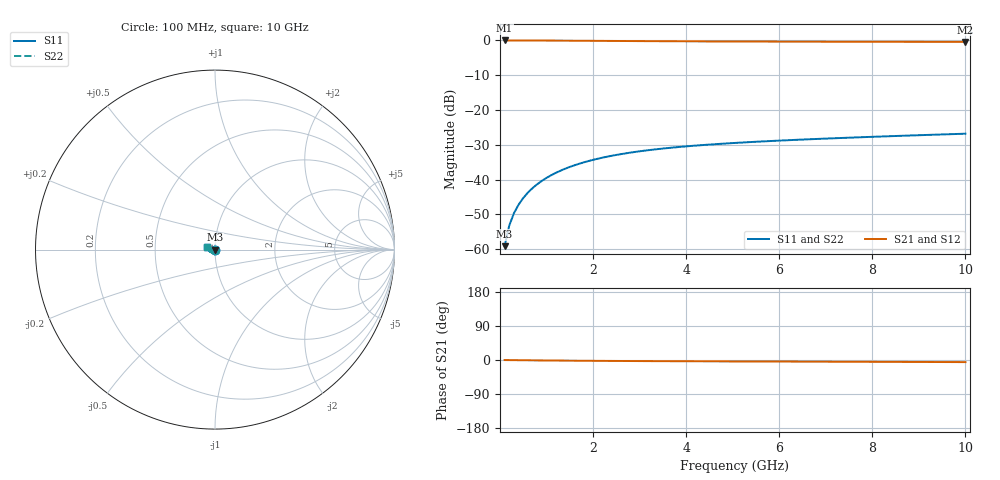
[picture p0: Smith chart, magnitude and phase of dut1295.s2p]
! Touchstone file exported from HFSS 2024.1.0
!  File:  C:/UserFiles/LocalFiles/RDL_TSV_Batchsim/temp_TSV1_1295_1780256560.aedt
!  Generated:  03:49:13 AM Jun  1, 2026
!  Design:  TSV1
!  Project:  temp_TSV1_1295_1780256560
!  Setup:  Setup1
!  Solution:  Sweep
! Variables:
!  dtsv = 9.19um
!  hbump = 3um
!  htsv = 84.29um
!  lrdl = 252.1521522um
!  p = 40
!  p1 = 57.93um
!  t = 500um
!  trdl = 3um
!  wrdl = 24.89489489um
# GHz S MA R 50.000000
! Terminal data exported
! Port[1] = TSV22_T1
! Port[2] = TSV22_T2
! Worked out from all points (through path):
!   100 points, 100 MHz to 10 GHz, reference 50 ohm
!   highest |S21| = 0.00 dB at 100 MHz (marker M1); lowest = -0.4 dB at 10 GHz (marker M2)
!   lowest |S11| = -59.2 dB at 100 MHz (marker M3), VSWR 1.00, Z = 50 - j0.109 ohm
!   |S11| at or under -10 dB: start of sweep to end of sweep
!   |S22| runs from -59.2 to -26.8 dB; largest |S21 - S12| = 3.3e-15
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0.1  0.0011 -82.9  0.9998 -0.1  0.9998 -0.1  0.0011 -82.9
! Gamma 0 0 0 0
! Port Impedance 50 0 50 0
0.2  0.002181 -89.4  0.9996 -0.3  0.9996 -0.3  0.002181 -89.4
0.3  0.003265 -93.0  0.9994 -0.4  0.9994 -0.4  0.003265 -93.0
0.4  0.004346 -95.9  0.9991 -0.5  0.9991 -0.5  0.004346 -95.9
0.5  0.005417 -98.5  0.9988 -0.6  0.9988 -0.6  0.005417 -98.5
0.6  0.006477 -100.9  0.9983 -0.8  0.9983 -0.8  0.006477 -100.9
0.7  0.007522 -103.2  0.9978 -0.9  0.9978 -0.9  0.007522 -103.2
0.8  0.008551 -105.4  0.9973 -1.0  0.9973 -1.0  0.008551 -105.4
0.9  0.009561 -107.6  0.9966 -1.1  0.9966 -1.1  0.009561 -107.6
1.1  0.01152 -111.8  0.9952 -1.3  0.9952 -1.3  0.01152 -111.8
1.4  0.01429 -117.8  0.9929 -1.6  0.9929 -1.6  0.01429 -117.8
1.6  0.01602 -121.6  0.9911 -1.8  0.9911 -1.8  0.01602 -121.6
1.8  0.01764 -125.2  0.9894 -2.0  0.9894 -2.0  0.01764 -125.2
2.1  0.01989 -130.4  0.9866 -2.2  0.9866 -2.2  0.01989 -130.4
2.5  0.02257 -136.9  0.983 -2.5  0.983 -2.5  0.02257 -136.9
2.9  0.0249 -142.8  0.9796 -2.8  0.9796 -2.8  0.0249 -142.8
3.4  0.02742 -149.5  0.9758 -3.0  0.9758 -3.0  0.02742 -149.5
4.2  0.03073 -159.0  0.9705 -3.4  0.9705 -3.4  0.03073 -159.0
5.1  0.03373 -168.1  0.966 -3.7  0.966 -3.7  0.03373 -168.1
6.7  0.03804 178.7  0.9602 -4.3  0.9602 -4.3  0.03804 178.7
8.4  0.04201 167.6  0.9563 -5.0  0.9563 -5.0  0.04201 167.6
10  0.04558 158.9  0.9538 -5.6  0.9538 -5.6  0.04558 158.9
